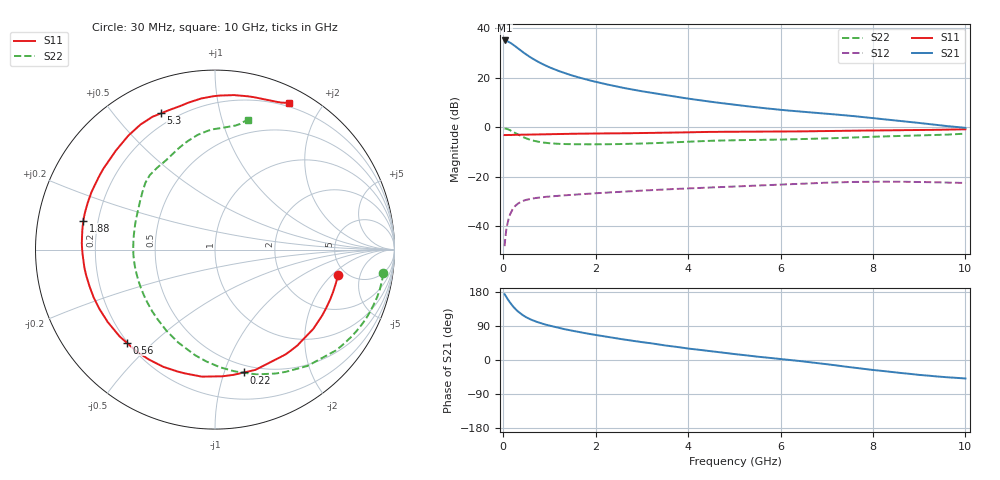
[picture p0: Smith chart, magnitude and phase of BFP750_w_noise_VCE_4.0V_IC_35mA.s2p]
! Infineon Technologies  Discrete & RF Semiconductors
! BFP750
! VCE =  4.0 V,  IC =  35 mA
! Common Emitter S-Parameters:  Jan 2016
# GHz  S  MA  R  50
!  f  S11  S21  S12  S22
! GHz  MAG  ANG  MAG  ANG  MAG  ANG  MAG  ANG
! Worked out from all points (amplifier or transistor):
!   229 points, 30 MHz to 10 GHz, reference 50 ohm
!   highest |S21| = 35.1 dB at 30 MHz (marker M1)
!   |S21| within 3 dB of that: start of sweep to 306.2 MHz
!   unconditionally stable (mu >= 1): 4.34 GHz to end of sweep
!   at 280 MHz: K = 0.17, MSG = 31.9 dB, |S12| = -31.4 dB
!   at 1.78 GHz: K = 0.63, MSG = 23.1 dB, |S12| = -26.9 dB
!   at 10 GHz: K = 1.06, MAG = 9.7 dB, |S12| = -22.4 dB
!   lowest NFmin = 0.89 dB at 450 MHz
!   S11 on the Smith chart (normalised r, x): 30 MHz: 4.26, -2.39; 220 MHz: 0.43, -1.17; 560 MHz: 0.20, -0.41; 1.88 GHz: 0.14, +0.11; 5.3 GHz: 0.15, +0.67; 10 GHz: 0.16, +1.61
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0.03  0.6997 -11.8  56.81 173.6  0.004 69.3  0.9475 -8.0
0.05  0.699 -19.9  56.69 169.2  0.0064 73.7  0.9448 -13.5
0.08  0.701 -31.7  55.57 163.8  0.0102 69.6  0.9308 -21.9
0.12  0.701 -45.8  53.25 156.2  0.0147 65.6  0.902 -32.5
0.155  0.702 -57.7  51.02 150.2  0.0181 61.0  0.8698 -41.1
0.22  0.7034 -76.6  46.26 140.3  0.0233 53.4  0.8056 -55.5
0.3  0.7116 -95.9  40.64 130.0  0.0281 46.1  0.7338 -71.4
0.4  0.7139 -113.8  34.41 120.2  0.032 39.0  0.6563 -87.5
0.5  0.7161 -127.3  29.45 112.6  0.0345 34.0  0.5986 -100.7
0.56  0.7148 -133.6  27.06 109.2  0.0355 31.9  0.5709 -107.1
0.7  0.7212 -146.0  22.46 101.7  0.0375 27.8  0.5268 -120.9
0.98  0.7276 -162.6  16.64 91.2  0.04 23.4  0.4809 -140.6
1.3  0.7365 -175.7  12.74 82.0  0.0423 20.8  0.4617 -156.2
1.7  0.7469 172.2  9.798 72.5  0.0449 18.9  0.4557 -170.3
1.88  0.7509 167.6  8.844 68.5  0.046 18.3  0.4555 -175.6
2.6  0.7602 151.6  6.268 54.3  0.0504 15.5  0.4622 166.4
3.4  0.7766 136.8  4.653 40.4  0.0553 12.2  0.4859 151.3
5.1  0.8173 114.0  2.795 14.5  0.0644 4.3  0.5527 129.9
5.3  0.817 111.7  2.657 11.8  0.0656 3.3  0.5552 127.5
6.8  0.8393 97.2  1.955 -8.1  0.0751 -5.6  0.5922 111.4
8.4  0.8732 78.1  1.408 -31.6  0.0801 -19.8  0.6637 93.3
10  0.915 63.3  0.979 -48.7  0.0755 -30.8  0.7473 75.9
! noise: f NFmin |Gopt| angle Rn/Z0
0.45  0.89  0.14  -166  0.37
0.9  0.91  0.19  -160  0.17
1.5  0.92  0.25  -158  0.08
1.9  0.94  0.27  -153  0.07
2.4  0.96  0.29  -147  0.09
3.5  1.19  0.33  -132  0.08
